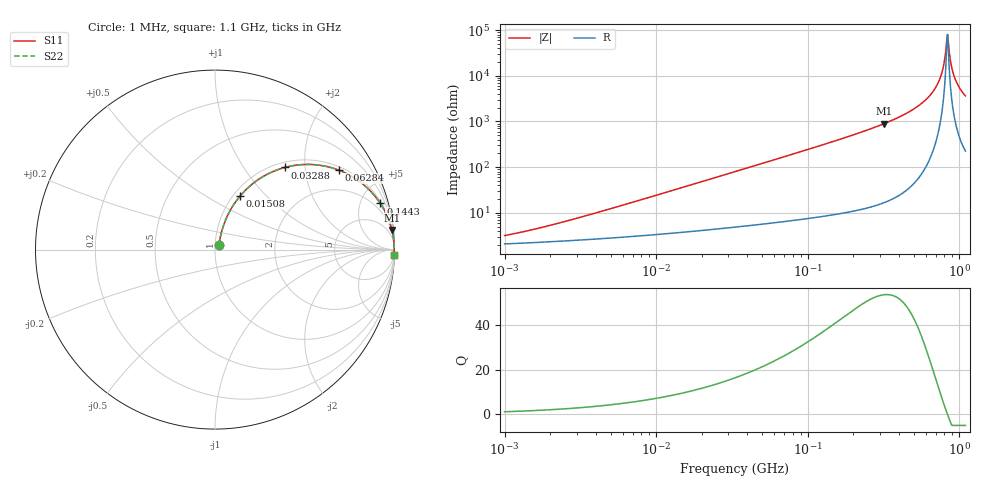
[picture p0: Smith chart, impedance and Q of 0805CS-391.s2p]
# MHz S MA R 50
!Freq  MagS11  AngS11  MagS21  AngS21  MagS12  AngS12  MagS22  AngS22
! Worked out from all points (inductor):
!   801 points, 1 MHz to 1.1 GHz, reference 50 ohm
!   read as one part in series: L = 380 nH near 3.204 MHz
!   highest Q = 53.8 at 320.1 MHz (marker M1), where L = 445 nH
!   self-resonance near 831.3 MHz
!   S11 on the Smith chart (normalised r, x): 1 MHz: 1.04, +0.05; 15.08 MHz: 1.07, +0.72; 32.88 MHz: 1.10, +1.57; 62.84 MHz: 1.12, +3.02; 144.3 MHz: 1.18, +7.10; 1.1 GHz: 5, -72
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1  0.031 47.6  0.9794 -1.3  0.9794 -1.3  0.031 47.6
3.231717  0.079 67.5  0.9725 -4.3  0.9725 -4.3  0.079 67.5
10.35297  0.2348 68.8  0.9409 -13.5  0.9409 -13.5  0.2348 68.8
15.0848  0.3298 64.9  0.9105 -19.2  0.9105 -19.2  0.3298 64.9
32.87718  0.6011 49.6  0.7632 -36.9  0.7632 -36.9  0.6011 49.6
33.16625  0.6044 49.4  0.7607 -37.1  0.7607 -37.1  0.6044 49.4
62.83815  0.8186 32.8  0.5421 -54.9  0.5421 -54.9  0.8186 32.8
107.1839  0.9244 20.8  0.3551 -67.5  0.3551 -67.5  0.9244 20.8
144.3407  0.9564 15.6  0.2692 -73.0  0.2692 -73.0  0.9564 15.6
320.1454  0.9918 6.4  0.1108 -82.6  0.1108 -82.6  0.9918 6.4
343.3691  0.993 5.8  0.1008 -83.2  0.1008 -83.2  0.993 5.8
509.1427  0.9974 3.0  0.05174 -85.7  0.05174 -85.7  0.9974 3.0
656.2812  0.9986 1.4  0.02464 -86.0  0.02464 -86.0  0.9986 1.4
754.9494  0.9988 0.6  0.01047 -83.0  0.01047 -83.0  0.9988 0.6
788.7267  0.9988 0.3  0.006139 -78.5  0.006139 -78.5  0.9988 0.3
816.8334  0.9988 0.1  0.002802 -64.1  0.002802 -64.1  0.9988 0.1
838.5688  0.9988 -0.0  0.001246 4.5  0.001246 4.5  0.9988 -0.0
853.3795  0.9987 -0.1  0.002236 55.6  0.002236 55.6  0.9987 -0.1
899.3995  0.9986 -0.4  0.007217 79.0  0.007217 79.0  0.9986 -0.4
939.6397  0.9985 -0.7  0.01156 82.4  0.01156 82.4  0.9985 -0.7
1016.663  0.9983 -1.1  0.01949 84.4  0.01949 84.4  0.9983 -1.1
1100  0.9979 -1.6  0.02755 84.9  0.02755 84.9  0.9979 -1.6
